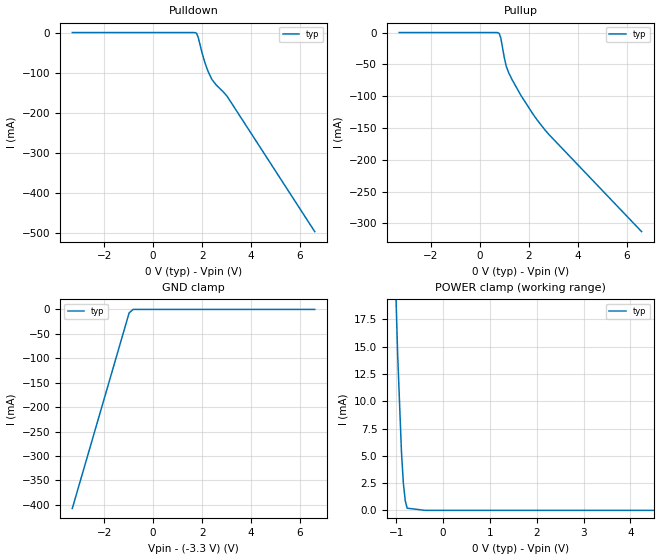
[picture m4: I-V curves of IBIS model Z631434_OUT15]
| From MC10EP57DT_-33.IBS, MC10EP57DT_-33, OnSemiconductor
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| (C) COPYRIGHT 1993-2000
| MENTOR GRAPHICS CORPORATION
| ICX STANDARD LIBRARY, ICX PROJECT MODELING,
| ICX CUSTOM MODELING, ICX VENDOR MODEL
| ALL RIGHTS RESERVED.
| THE FOLLOWING ARE TRADEMARKS OR SERVICE MARKS OF
| MENTOR GRAPHICS CORPORATION:ICX (R), ICX STANDARD
| LIBRARY(R), ICX PROJECT MODELING(R), ICX CUSTOM
| MODELING(R), qualityIBIS(TM), MODELVIEWER(TM),
| AND MODELEDITOR(TM)
| ALL COPIES OF SOFTWARE, INCLUDING BUT NOT LIMITED TO
| ANY MODIFICATIONS, ENHANCEMENTS OR DERIVATIVE WORKS,
| MUST CONTAIN ALL MENTOR GRAPHICS CORPORATION'S
| NOTICES AND LEGENDS, INCLUDING THOSE EMBEDDED IN
| SOFTWARE AND THOSE AFFIXED TO SOFTWARE MEDIUM
| AND CONTAINER, AS RECEIVED FROM MENTOR GRAPHICS
| CORPORATION.
| Model Application Version 1.89 2/18/99.
[Model] Z631434_OUT15
Model_type Output_ECL
Vref=-2.000V
Rref=50.00ohms
Cref=0.000F
Vmeas=-1.345V
C_comp 1.000pF NA NA
| variable typ   min   max
[Voltage Range] -3.300V NA NA
[POWER Clamp Reference] 0.000V NA NA
[Pullup Reference] 0.000V NA NA
[Pulldown Reference] 0.000V NA NA
[GND Clamp Reference] -3.300V NA NA
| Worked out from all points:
|   GND clamp passes 1 mA (typ) near -0.84 V on its own axis
|   POWER clamp passes 1 mA (typ) near -0.81 V on its own axis
[GND Clamp]
-3.3V     -407.6mA   NA         NA
-977mV    -6.921mA   NA         NA
-814.2mV  0A         NA         NA
6.6V      0A         NA         NA
[Pulldown]
-3.3V     0A         NA         NA
1.642V    0A         NA         NA
1.763V    -1.7mA     NA         NA
1.844V    -12.6mA    NA         NA
2.007V    -52.6mA    NA         NA
2.128V    -77.5mA    NA         NA
2.25V     -97.7mA    NA         NA
2.392V    -116mA     NA         NA
2.574V    -130.6mA   NA         NA
3.02V     -158.7mA   NA         NA
6.6V      -496.4mA   NA         NA
[Pullup]
-3.3V     0A         NA         NA
770mV     -900uA     NA         NA
790mV     -1.8mA     NA         NA
851mV     -8.6mA     NA         NA
993mV     -39.5mA    NA         NA
1.074V    -53.2mA    NA         NA
1.175V    -63.4mA    NA         NA
1.317V    -74.5mA    NA         NA
1.662V    -98.2mA    NA         NA
2.331V    -137.3mA   NA         NA
2.797V    -159.6mA   NA         NA
6.6V      -313.1mA   NA         NA
[POWER Clamp]
-3.3V     428.9mA    NA         NA
-1.074V   29.3mA     NA         NA
-973mV    14.3mA     NA         NA
-892mV    5.4mA      NA         NA
-851mV    2.5mA      NA         NA
-811mV    900uA      NA         NA
-770mV    200uA      NA         NA
-385mV    0A         NA         NA
6.6V      0A         NA         NA
[Ramp]
| variable typ min max
dV/dt_r 527.3m/94.07p NA NA
dV/dt_f 527.3m/85.81p NA NA
R_load = 50.00Ohms
